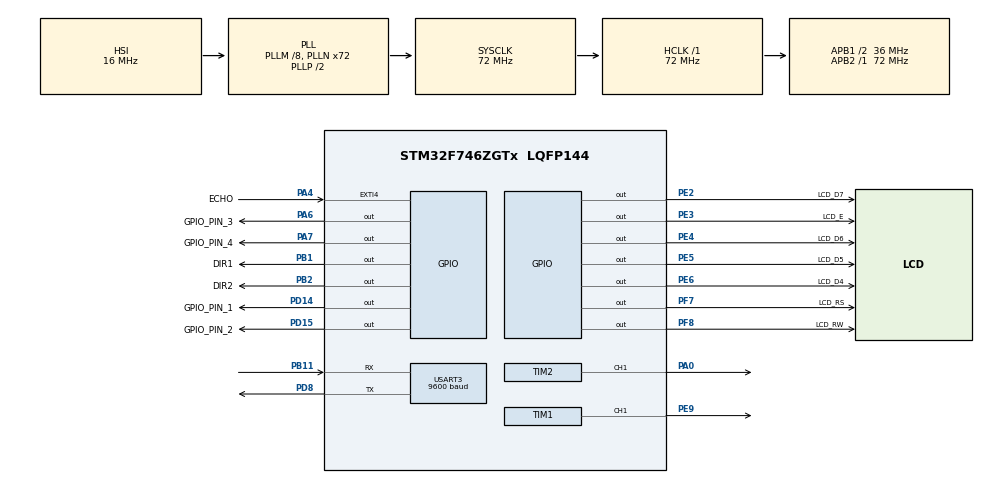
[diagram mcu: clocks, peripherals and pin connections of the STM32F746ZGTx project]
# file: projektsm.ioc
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ARM.CMSIS.5.7.0.CMSISJjCORE=true
ARM.CMSIS.5.7.0.CMSISJjDSP=Library
Mcu.Family=STM32F7
Mcu.Name=STM32F746ZGTx
Mcu.Package=LQFP144
NVIC.EXTI4_IRQn=true\:15\:0\:true\:false\:true\:true\:true\:true
NVIC.PriorityGroup=NVIC_PRIORITYGROUP_4
NVIC.TIM1_CC_IRQn=true\:0\:0\:false\:false\:true\:true\:true\:true
NVIC.TIM2_IRQn=true\:0\:0\:false\:false\:true\:true\:true\:true
NVIC.TIM3_IRQn=true\:0\:0\:false\:false\:true\:true\:true\:true
NVIC.TIM4_IRQn=true\:0\:0\:true\:false\:true\:true\:true\:true
NVIC.USART3_IRQn=true\:0\:0\:true\:false\:true\:true\:true\:true
PA0/WKUP.Signal=S_TIM2_CH1_ETR
PA13.Mode=Serial_Wire
PA13.Signal=SYS_JTMS-SWDIO
PA14.Mode=Serial_Wire
PA14.Signal=SYS_JTCK-SWCLK
PA4.GPIO_Label=ECHO
PA4.GPIO_ModeDefaultEXTI=GPIO_MODE_IT_RISING_FALLING
PA4.Signal=GPXTI4
PA6.GPIO_Label=GPIO_PIN_3
PA6.PinState=GPIO_PIN_SET
PA6.Signal=GPIO_Output
PA7.GPIO_Label=GPIO_PIN_4
PA7.PinState=GPIO_PIN_SET
PA7.Signal=GPIO_Output
PB1.GPIO_Label=DIR1
PB1.Signal=GPIO_Output
PB11.Mode=Asynchronous
PB11.Signal=USART3_RX
PB2.GPIO_Label=DIR2
PB2.Signal=GPIO_Output
PC14/OSC32_IN.Mode=LSE-External-Oscillator
PC14/OSC32_IN.Signal=RCC_OSC32_IN
PC15/OSC32_OUT.Mode=LSE-External-Oscillator
PC15/OSC32_OUT.Signal=RCC_OSC32_OUT
PD14.GPIO_Label=GPIO_PIN_1
PD14.PinState=GPIO_PIN_SET
PD14.Signal=GPIO_Output
PD15.GPIO_Label=GPIO_PIN_2
PD15.PinState=GPIO_PIN_SET
PD15.Signal=GPIO_Output
PD8.Mode=Asynchronous
PD8.Signal=USART3_TX
PE2.GPIO_Label=LCD_D7
PE2.Signal=GPIO_Output
PE3.GPIO_Label=LCD_E
PE3.Signal=GPIO_Output
PE4.GPIO_Label=LCD_D6
PE4.Signal=GPIO_Output
PE5.GPIO_Label=LCD_D5
PE5.Signal=GPIO_Output
PE6.GPIO_Label=LCD_D4
PE6.Signal=GPIO_Output
PE9.Signal=S_TIM1_CH1
PF7.GPIO_Label=LCD_RS
PF7.Signal=GPIO_Output
PF8.GPIO_Label=LCD_RW
PF8.Signal=GPIO_Output
PH0/OSC_IN.Mode=HSE-External-Clock-Source
PH0/OSC_IN.Signal=RCC_OSC_IN
PH1/OSC_OUT.Mode=HSE-External-Clock-Source
PH1/OSC_OUT.Signal=RCC_OSC_OUT
ProjectManager.HeapSize=0x200
ProjectManager.StackSize=0x400
ProjectManager.TargetToolchain=STM32CubeIDE
RCC.AHBFreq_Value=72000000
RCC.APB1CLKDivider=RCC_HCLK_DIV2
RCC.APB1Freq_Value=36000000
RCC.APB1TimFreq_Value=72000000
RCC.APB2Freq_Value=72000000
RCC.APB2TimFreq_Value=72000000
RCC.CortexFreq_Value=72000000
RCC.HCLKFreq_Value=72000000
RCC.HSE_VALUE=25000000
RCC.HSI_VALUE=16000000
RCC.PLLM=8
RCC.PLLN=72
RCC.SYSCLKFreq_VALUE=72000000
RCC.SYSCLKSource=RCC_SYSCLKSOURCE_PLLCLK
RCC.USBFreq_Value=72000000
RCC.VCOOutputFreq_Value=144000000
SH.S_TIM1_CH1.0=TIM1_CH1,PWM Generation1 CH1
SH.S_TIM2_CH1_ETR.0=TIM2_CH1,PWM Generation1 CH1
TIM1.AutoReloadPreload=TIM_AUTORELOAD_PRELOAD_ENABLE
TIM1.Channel-PWM\ Generation1\ CH1=TIM_CHANNEL_1
TIM1.Period=99
TIM1.Prescaler=71
TIM1.Pulse-PWM\ Generation1\ CH1=100
TIM2.Channel-PWM\ Generation1\ CH1=TIM_CHANNEL_1
TIM2.Period=49999
TIM2.Prescaler=71
TIM2.Pulse-PWM\ Generation1\ CH1=20
TIM3.Prescaler=71
TIM4.Period=999
TIM4.Prescaler=71
TIM5.Prescaler=71
TIM8.Period=0xffff-1
TIM8.Prescaler=71
USART3.BaudRate=9600
USART3.VirtualMode-Asynchronous=VM_ASYNC
VP_ARM.CMSIS_VS_CMSISJjCORE_5.4.0_5.7.0.Mode=CMSISJjCORE
VP_ARM.CMSIS_VS_CMSISJjDSP_1.8.0_5.7.0.Mode=CMSISJjDSP
VP_TIM1_VS_ClockSourceINT.Mode=Internal
VP_TIM2_VS_ClockSourceINT.Mode=Internal
VP_TIM3_VS_ClockSourceINT.Mode=Internal
VP_TIM4_VS_ClockSourceINT.Mode=Internal
VP_TIM5_VS_ClockSourceINT.Mode=Internal
VP_TIM8_VS_ClockSourceINT.Mode=Internal
board=custom

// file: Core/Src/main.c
/* USER CODE BEGIN Header */
/**
  ******************************************************************************
  * @file           : main.c
  * @brief          : Main program body
  ******************************************************************************
  * @attention
  *
  * Copyright (c) 2023 STMicroelectronics.
  * All rights reserved.
  *
  * This software is licensed under terms that can be found in the LICENSE file
  * in the root directory of this software component.
  * If no LICENSE file comes with this software, it is provided AS-IS.
  *
  ******************************************************************************
  */
/* USER CODE END Header */
#include "main.h"
#include "tim.h"
#include "usart.h"
#include "gpio.h"

/* USER CODE BEGIN Includes */
#include "hc_sr04.h"
#include "DC_Motor.h"
#include "arm_math.h"
#include "control.h"
#include "string.h"
#include "stdio.h"
#include "lcd.h"
/* USER CODE END Includes */

/* USER CODE BEGIN PV */
struct us_sensor_str distance_sensor;
uint32_t echo_us;
float value;
float y_ref = 20.0f;
struct Motor motor;
struct Controller controller;
uint32_t x;
float lmao;
int i=0;
char buffer[4] = {'0', '2', '0', '\0'};
char lcdbuffer[32] = {0};
HAL_StatusTypeDef status;
uint8_t rx_buffer[32];
uint16_t msg_len;

float jebac_usart = 0.0f;
/* USER CODE END PV */

void SystemClock_Config(void);

/* USER CODE BEGIN 0 */

/**
  * @brief  EXTI line detection callbacks.
  * @param  GPIO_Pin Specifies the pins connected EXTI line
  * @retval None
  */
void HAL_GPIO_EXTI_Callback(uint16_t GPIO_Pin)
{

	if(GPIO_Pin == ECHO_Pin){
		_Bool state = HAL_GPIO_ReadPin(ECHO_GPIO_Port, ECHO_Pin);
		if(state == 1){
			__HAL_TIM_SET_COUNTER(&htim5, 0);
			HAL_TIM_Base_Start(&htim5);

		}
		else{
			HAL_TIM_Base_Stop(&htim5);
			x = __HAL_TIM_GET_COUNTER(&htim5);
			if(x/58.0f < 1000) value = x/58.0f;

		}
	}
}

void HAL_UART_RxCpltCallback(UART_HandleTypeDef *huart){
	if(huart == &huart3){
		if(rx_buffer[0] == 'R'){
			sscanf((char*)&rx_buffer[1], "%f", &jebac_usart);
		}
	}
	HAL_UART_Receive_IT(&huart3, rx_buffer, 6);
}
/* USER CODE END 0 */

int main(void)
{

  /* MCU Configuration--------------------------------------------------------*/

  /* Reset of all peripherals, Initializes the Flash interface and the Systick. */
  HAL_Init();

  /* Configure the system clock */
  SystemClock_Config();

  /* Initialize all configured peripherals */
  MX_GPIO_Init();
  MX_TIM2_Init();
  MX_TIM1_Init();
  MX_TIM3_Init();
  MX_TIM5_Init();
  MX_TIM4_Init();
  MX_TIM8_Init();
  MX_USART3_UART_Init();
  /* USER CODE BEGIN 2 */
  HAL_TIM_PWM_Start(&htim2, TIM_CHANNEL_1);
  HAL_TIM_PWM_Start(&htim1, TIM_CHANNEL_1);
  LCD_Init();

  Motor_INIT(&motor, &htim1, TIM_CHANNEL_1, DIR1_GPIO_Port, DIR2_GPIO_Port, DIR1_Pin, DIR2_Pin);
  control_INIT(&controller, 100.0f, 60.0f, 5.0f, 0.5f);
  LCD_Put_Cursor(0,0);
  LCD_Send_data('a');

  msg_len = sizeof("R00.0\r");
  HAL_UART_Receive_IT(&huart3, rx_buffer, 6);
  /* USER CODE END 2 */

  /* Infinite loop */
  /* USER CODE BEGIN WHILE */
  while (1)
  {

	  lmao = control_GET_SIGNAL(&controller, value, y_ref);
	  snprintf(lcdbuffer, sizeof(lcdbuffer),"Distance: %.2f", value);
	  //status = HAL_UART_Transmit(&huart3, (uint8_t*)lcdbuffer, strlen(lcdbuffer), 10);
	  //HAL_Delay(500);

	  //Motor_MOVE(&motor, lmao);

	  HAL_Delay(50);

    /* USER CODE END WHILE */

  }
}

void SystemClock_Config(void)
{
  RCC_OscInitTypeDef RCC_OscInitStruct = {0};
  RCC_ClkInitTypeDef RCC_ClkInitStruct = {0};

  /** Configure LSE Drive Capability
  */
  HAL_PWR_EnableBkUpAccess();

  /** Configure the main internal regulator output voltage
  */
  __HAL_RCC_PWR_CLK_ENABLE();
  __HAL_PWR_VOLTAGESCALING_CONFIG(PWR_REGULATOR_VOLTAGE_SCALE3);

  /** Initializes the RCC Oscillators according to the specified parameters
  * in the RCC_OscInitTypeDef structure.
  */
  RCC_OscInitStruct.OscillatorType = RCC_OSCILLATORTYPE_HSI;
  RCC_OscInitStruct.HSIState = RCC_HSI_ON;
  RCC_OscInitStruct.HSICalibrationValue = RCC_HSICALIBRATION_DEFAULT;
  RCC_OscInitStruct.PLL.PLLState = RCC_PLL_ON;
  RCC_OscInitStruct.PLL.PLLSource = RCC_PLLSOURCE_HSI;
  RCC_OscInitStruct.PLL.PLLM = 8;
  RCC_OscInitStruct.PLL.PLLN = 72;
  RCC_OscInitStruct.PLL.PLLP = RCC_PLLP_DIV2;
  RCC_OscInitStruct.PLL.PLLQ = 2;
  if (HAL_RCC_OscConfig(&RCC_OscInitStruct) != HAL_OK)
  {
    Error_Handler();
  }

  /** Initializes the CPU, AHB and APB buses clocks
  */
  RCC_ClkInitStruct.ClockType = RCC_CLOCKTYPE_HCLK|RCC_CLOCKTYPE_SYSCLK
                              |RCC_CLOCKTYPE_PCLK1|RCC_CLOCKTYPE_PCLK2;
  RCC_ClkInitStruct.SYSCLKSource = RCC_SYSCLKSOURCE_PLLCLK;
  RCC_ClkInitStruct.AHBCLKDivider = RCC_SYSCLK_DIV1;
  RCC_ClkInitStruct.APB1CLKDivider = RCC_HCLK_DIV2;
  RCC_ClkInitStruct.APB2CLKDivider = RCC_HCLK_DIV1;

  if (HAL_RCC_ClockConfig(&RCC_ClkInitStruct, FLASH_LATENCY_2) != HAL_OK)
  {
    Error_Handler();
  }
}

void Error_Handler(void)
{
  __disable_irq();
  while (1)
  {
  }
}
